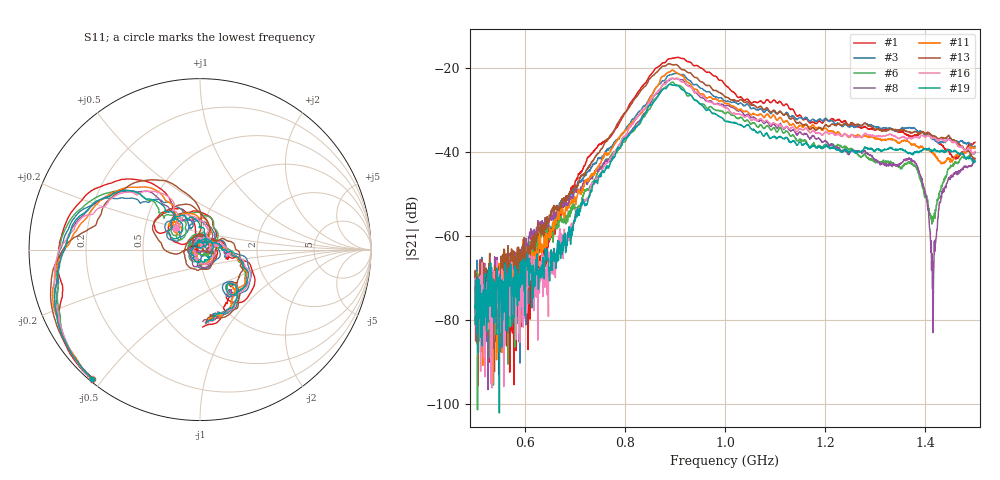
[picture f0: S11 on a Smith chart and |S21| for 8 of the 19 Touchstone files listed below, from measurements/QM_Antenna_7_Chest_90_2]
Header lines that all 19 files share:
!Agilent Technologies,E8364B,US42250235,A.06.04.32
!Agilent E8364B: A.06.04.32
!Correction: S11(Full 2 Port(1,2)) S21(Full 2 Port(1,2)) S12(Full 2 Port(1,2)) S22(Full 2 Port(1,2))
!S2P File: Measurements: S11, S21, S12, S22:
# Hz S  dB  R 50
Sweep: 500 MHz to 1.5 GHz
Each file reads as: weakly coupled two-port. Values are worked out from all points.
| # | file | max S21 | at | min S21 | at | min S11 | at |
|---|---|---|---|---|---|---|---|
| 1 | 0_4.s2p | -17.48 dB | 905.6 MHz | -95.6 dB | 506.2 MHz | -39.3 dB | 1.114 GHz |
| 2 | 0_6.s2p | -19.05 dB | 887.5 MHz | -94.6 dB | 556.9 MHz | -70.3 dB | 892.5 MHz |
| 3 | 0_10.s2p | -21.30 dB | 903.8 MHz | -90.3 dB | 590 MHz | -34.8 dB | 1.07 GHz |
| 4 | 0_11.s2p | -21.44 dB | 894.4 MHz | -97.6 dB | 513.8 MHz | -40.0 dB | 886.2 MHz |
| 5 | 1_1.s2p | -27.31 dB | 877.5 MHz | -92.9 dB | 1.386 GHz | -38.2 dB | 986.9 MHz |
| 6 | 1_2.s2p | -23.42 dB | 895 MHz | -101.4 dB | 505 MHz | -32.2 dB | 876.9 MHz |
| 7 | 1_3.s2p | -24.07 dB | 895.6 MHz | -94.9 dB | 550.6 MHz | -58.3 dB | 901.2 MHz |
| 8 | 1_4.s2p | -22.48 dB | 895.6 MHz | -96.6 dB | 526.2 MHz | -43.2 dB | 878.1 MHz |
| 9 | 2_1.s2p | -18.16 dB | 886.2 MHz | -81.5 dB | 503.8 MHz | -39.3 dB | 700.6 MHz |
| 10 | 2_2.s2p | -19.27 dB | 886.9 MHz | -90.6 dB | 546.2 MHz | -36.1 dB | 1.134 GHz |
| 11 | 2_5.s2p | -20.53 dB | 895 MHz | -94.9 dB | 535.6 MHz | -33.4 dB | 884.4 MHz |
| 12 | 3_1.s2p | -13.34 dB | 897.5 MHz | -91.3 dB | 503.8 MHz | -33.2 dB | 878.8 MHz |
| 13 | 4_2.s2p | -19.01 dB | 888.1 MHz | -86.9 dB | 536.2 MHz | -38.2 dB | 963.8 MHz |
| 14 | 4_4.s2p | -20.07 dB | 904.4 MHz | -94.8 dB | 503.1 MHz | -55.3 dB | 872.5 MHz |
| 15 | 4_5.s2p | -21.30 dB | 893.8 MHz | -81.3 dB | 513.8 MHz | -48.4 dB | 911.2 MHz |
| 16 | 4_6.s2p | -22.46 dB | 903.8 MHz | -96.2 dB | 534.4 MHz | -39.4 dB | 896.9 MHz |
| 17 | 5_3.s2p | -24.50 dB | 892.5 MHz | -94.8 dB | 501.9 MHz | -35.4 dB | 857.5 MHz |
| 18 | 5_4.s2p | -23.87 dB | 893.1 MHz | -92.4 dB | 574.4 MHz | -34.3 dB | 886.9 MHz |
| 19 | 5_5.s2p | -23.92 dB | 888.8 MHz | -102.1 dB | 548.8 MHz | -41.3 dB | 890.6 MHz |
